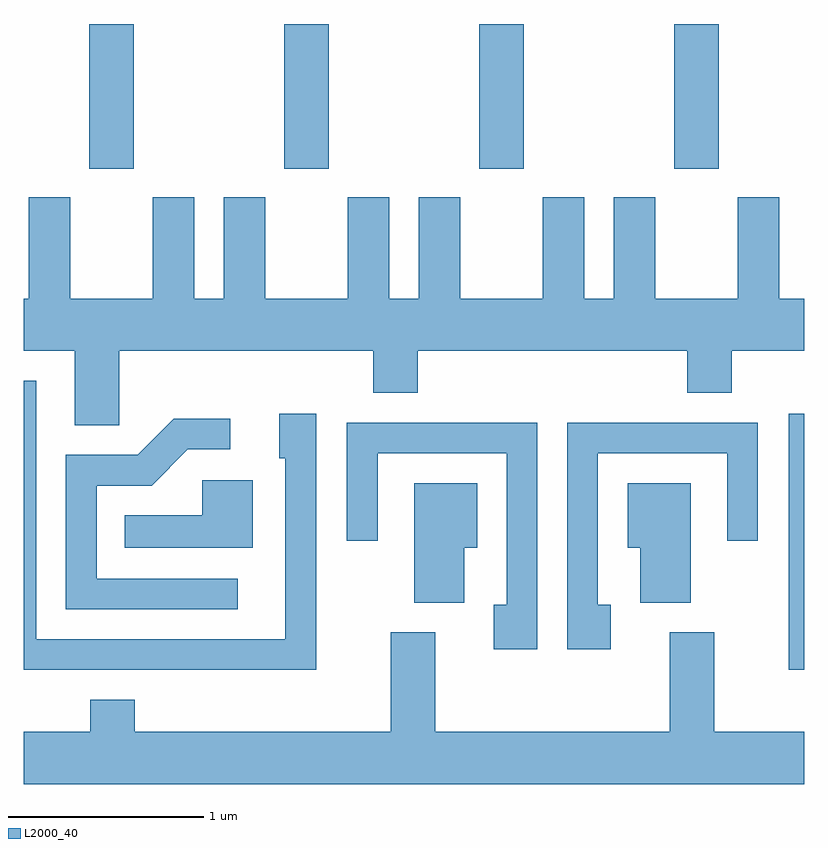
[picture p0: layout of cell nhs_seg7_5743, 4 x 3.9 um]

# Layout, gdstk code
import gdstk
lib = gdstk.Library(unit=1e-6, precision=1e-09)
def R(c, l, rs):  # rectangles x0, y0, x1, y1
    for r in rs: c.add(gdstk.rectangle(r[:2], r[2:], *l))
def A(c, l, x, y, w, h, nx, ny, dx, dy):  # array of equal rectangles
    R(c, l, [(x+i*dx, y+j*dy, x+i*dx+w, y+j*dy+h) for i in range(nx) for j in range(ny)])
def P(c, l, *ps):  # polygons
    for p in ps: c.add(gdstk.Polygon(p, *l))
L2000_40 = (2000, 40)

nhs_seg7_5743 = lib.new_cell('nhs_seg7_5743')
A(nhs_seg7_5743, L2000_40, 361.946, 1677.511, 0.228, 0.741, 4, 1, 1, 0)
R(nhs_seg7_5743, L2000_40, [(365.531,1674.941,365.611,1676.254)])
P(nhs_seg7_5743, L2000_40, [(361.871,1676.196),(362.099,1676.196),(362.099,1676.576),(363.401,1676.576),(363.401,1676.361),(363.629,1676.361),(363.629,1676.576),(365.011,1676.576),(365.011,1676.361),(365.239,1676.361),(365.239,1676.576),(365.611,1676.576),(365.611,1676.844),(365.484,1676.844),(365.484,1677.364),(365.271,1677.364),(365.271,1676.844),(364.849,1676.844),(364.849,1677.364),(364.636,1677.364),(364.636,1676.844),(364.484,1676.844),(364.484,1677.364),(364.271,1677.364),(364.271,1676.844),(363.849,1676.844),(363.849,1677.364),(363.636,1677.364),(363.636,1676.844),(363.484,1676.844),(363.484,1677.364),(363.271,1677.364),(363.271,1676.844),(362.849,1676.844),(362.849,1677.364),(362.636,1677.364),(362.636,1676.844),(362.484,1676.844),(362.484,1677.364),(362.271,1677.364),(362.271,1676.844),(361.849,1676.844),(361.849,1677.364),(361.636,1677.364),(361.636,1676.844),(361.611,1676.844),(361.611,1676.576),(361.871,1676.576)],
  [(363.109,1676.254),(362.921,1676.254),(362.921,1676.026),(362.951,1676.026),(362.951,1675.099),(361.674,1675.099),(361.674,1676.424),(361.611,1676.424),(361.611,1674.941),(363.109,1674.941)],
  [(362.708,1675.409),(361.984,1675.409),(361.984,1675.886),(362.267,1675.886),(362.452,1676.071),(362.668,1676.071),(362.668,1676.229),(362.379,1676.229),(362.194,1676.044),(361.826,1676.044),(361.826,1675.251),(362.708,1675.251)],
  [(364.619,1675.274),(364.554,1675.274),(364.554,1676.051),(365.216,1676.051),(365.216,1675.603),(365.374,1675.603),(365.374,1676.209),(364.396,1676.209),(364.396,1675.046),(364.619,1675.046)],
  [(364.244,1676.209),(363.266,1676.209),(363.266,1675.603),(363.424,1675.603),(363.424,1676.051),(364.086,1676.051),(364.086,1675.274),(364.021,1675.274),(364.021,1675.046),(364.244,1675.046)],
  [(362.784,1675.914),(362.526,1675.914),(362.526,1675.734),(362.128,1675.734),(362.128,1675.566),(362.784,1675.566)],
  [(363.869,1675.566),(363.934,1675.566),(363.934,1675.899),(363.611,1675.899),(363.611,1675.286),(363.869,1675.286)],
  [(365.029,1675.899),(364.706,1675.899),(364.706,1675.566),(364.771,1675.566),(364.771,1675.286),(365.029,1675.286)],
  [(365.611,1674.624),(365.149,1674.624),(365.149,1675.134),(364.921,1675.134),(364.921,1674.624),(363.719,1674.624),(363.719,1675.134),(363.491,1675.134),(363.491,1674.624),(362.179,1674.624),(362.179,1674.789),(361.951,1674.789),(361.951,1674.624),(361.611,1674.624),(361.611,1674.356),(365.611,1674.356)])

lib.write_gds('nhs_seg7_5743.gds')
